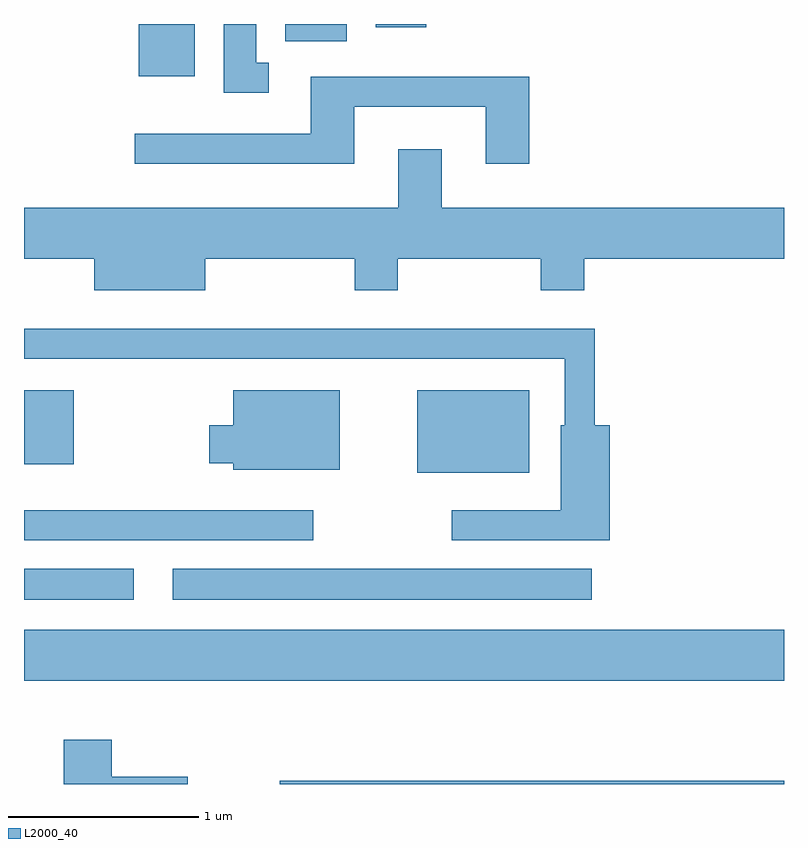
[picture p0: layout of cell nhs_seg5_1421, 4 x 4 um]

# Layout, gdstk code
import gdstk
lib = gdstk.Library(unit=1e-6, precision=1e-09)
def R(c, l, rs):  # rectangles x0, y0, x1, y1
    for r in rs: c.add(gdstk.rectangle(r[:2], r[2:], *l))
def P(c, l, *ps):  # polygons
    for p in ps: c.add(gdstk.Polygon(p, *l))
L2000_40 = (2000, 40)

nhs_seg5_1421 = lib.new_cell('nhs_seg5_1421')
R(nhs_seg5_1421, L2000_40, [(228.956,1414.072,231.611,1414.089), (227.611,1414.616,231.611,1414.884), (227.611,1415.041,228.188,1415.204), (228.393,1415.041,230.598,1415.204), (227.611,1415.356,229.133,1415.514), (229.681,1415.711,230.269,1416.144), (227.611,1415.756,227.874,1416.144), (228.216,1417.796,228.509,1418.072), (228.986,1417.981,229.309,1418.072), (229.461,1418.056,229.729,1418.072)])
P(nhs_seg5_1421, L2000_40, [(228.898,1417.869),(228.834,1417.869),(228.834,1418.072),(228.661,1418.072),(228.661,1417.711),(228.898,1417.711)],
  [(229.349,1417.636),(230.041,1417.636),(230.041,1417.336),(230.269,1417.336),(230.269,1417.794),(229.121,1417.794),(229.121,1417.494),(228.193,1417.494),(228.193,1417.336),(229.349,1417.336)],
  [(228.564,1416.836),(229.351,1416.836),(229.351,1416.671),(229.579,1416.671),(229.579,1416.836),(230.331,1416.836),(230.331,1416.671),(230.559,1416.671),(230.559,1416.836),(231.611,1416.836),(231.611,1417.104),(229.809,1417.104),(229.809,1417.414),(229.581,1417.414),(229.581,1417.104),(227.611,1417.104),(227.611,1416.836),(227.981,1416.836),(227.981,1416.671),(228.564,1416.671)],
  [(230.694,1415.959),(230.614,1415.959),(230.614,1416.469),(227.611,1416.469),(227.611,1416.311),(230.456,1416.311),(230.456,1415.959),(230.436,1415.959),(230.436,1415.514),(229.863,1415.514),(229.863,1415.356),(230.694,1415.356)],
  [(229.274,1416.144),(228.711,1416.144),(228.711,1415.959),(228.586,1415.959),(228.586,1415.761),(228.711,1415.761),(228.711,1415.726),(229.274,1415.726)],
  [(228.474,1414.109),(228.074,1414.109),(228.074,1414.304),(227.821,1414.304),(227.821,1414.072),(228.474,1414.072)])

lib.write_gds('nhs_seg5_1421.gds')
